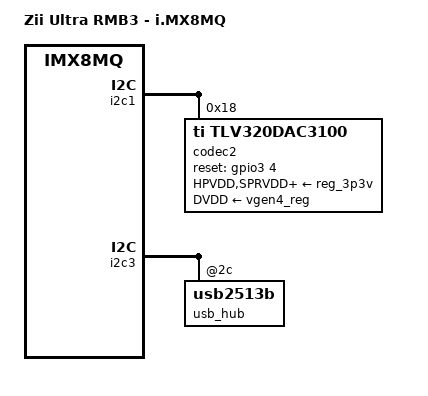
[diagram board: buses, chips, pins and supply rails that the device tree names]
/*
 * Copyright 2018 Zii
 *
 * This program is free software; you can redistribute it and/or
 * modify it under the terms of the GNU General Public License
 * as published by the Free Software Foundation; either version 2
 * of the License, or (at your option) any later version.
 *
 * This program is distributed in the hope that it will be useful,
 * but WITHOUT ANY WARRANTY; without even the implied warranty of
 * MERCHANTABILITY or FITNESS FOR A PARTICULAR PURPOSE.  See the
 * GNU General Public License for more details.
 */

/dts-v1/;

#include "zii-imx8mq-ultra.dtsi"

/ {
	model = "Zii Ultra RMB3 - i.MX8MQ";
#if 0
	sound2 {
		compatible = "simple-audio-card";
		simple-audio-card,name = "Back";
		simple-audio-card,format = "i2s";
		simple-audio-card,bitclock-master = <&sound2_codec>;
		simple-audio-card,frame-master = <&sound2_codec>;
		simple-audio-card,widgets =
			"Headphone", "Headphone Jack";
		simple-audio-card,routing =
			"Headphone Jack", "HPLEFT",
			"Headphone Jack", "HPRIGHT",
			"LEFTIN", "HPL",
			"RIGHTIN", "HPR";
		simple-audio-card,aux-devs = <&hpa2>;

		simple-audio-card,cpu {
			sound-dai = <&sai3>;
		};

		sound2_codec: simple-audio-card,codec {
			sound-dai = <&codec2>;
			clocks = <&cs2000_ref>;
		};
	};
#endif	
};

&i2c1 {
	codec2: codec@18 {
		compatible = "ti,tlv320dac3100";
		pinctrl-names = "default";
		pinctrl-0 = <&pinctrl_codec2>;
		reg = <0x18>;
		#sound-dai-cells = <0>;
		HPVDD-supply = <&reg_3p3v>;
		SPRVDD-supply = <&reg_3p3v>;
		SPLVDD-supply = <&reg_3p3v>;
		AVDD-supply = <&reg_3p3v>;
		IOVDD-supply = <&reg_3p3v>;
		DVDD-supply = <&vgen4_reg>;
		gpio-reset = <&gpio3 4 GPIO_ACTIVE_HIGH>;
	};
};

&i2c3 {
	usb_hub: usb2513b@2c {
		port-swap=<0x01>;
	};
};
#if 0
&sai3 {
	pinctrl-names = "default";
	pinctrl-0 = <&pinctrl_sai3>;
	/* assigned-clocks = <&clk IMX8MQ_CLK_SAI3_SRC>, */
	/* 		<&clk IMX8MQ_CLK_SAI3_DIV>; */
	/* assigned-clock-parents = <&clk IMX8MQ_AUDIO_PLL1_OUT>; */
	/* assigned-clock-rates = <0>, <24576000>; */
	status = "okay";

	#sound-dai-cells = <0>;
};
#endif

&iomuxc {
	pinctrl-names = "default";
	pinctrl-0 = <&pinctrl_hog>;

	zii-imx8mq-rmb3 {
		pinctrl_sai3: sai3grp {
			fsl,pins = <
				MX8MQ_IOMUXC_SAI3_TXFS_SAI3_TX_SYNC	0xd6
				MX8MQ_IOMUXC_SAI3_TXC_SAI3_TX_BCLK	0xd6
				MX8MQ_IOMUXC_SAI3_TXD_SAI3_TX_DATA0	0xd6
			>;
		};

		pinctrl_codec2: dac2grp {
			fsl,pins = <
				MX8MQ_IOMUXC_NAND_CE3_B_GPIO3_IO4 0x41
			>;
		};
	};
};
